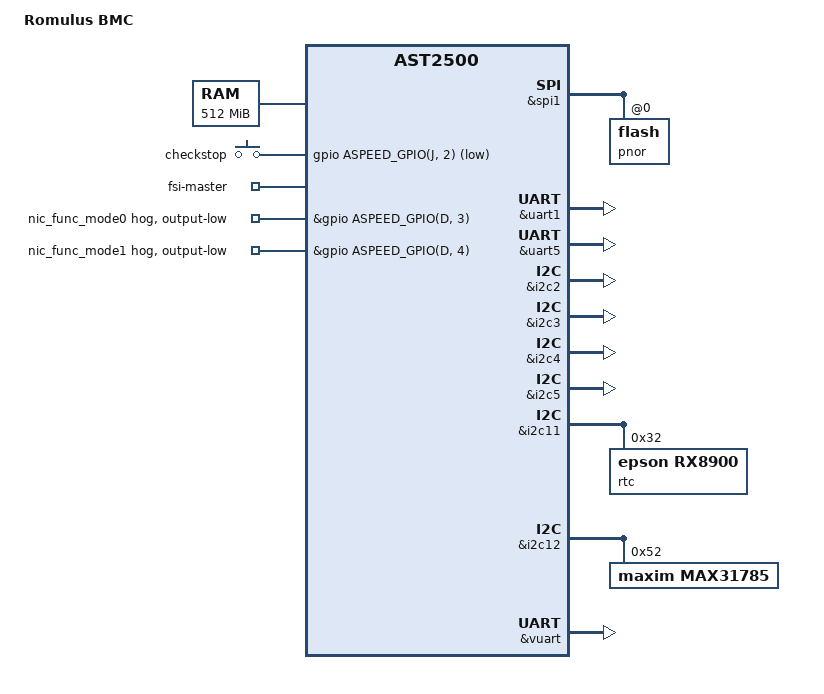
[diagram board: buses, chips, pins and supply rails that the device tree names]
/dts-v1/;

#include "aspeed-g5.dtsi"
#include <dt-bindings/gpio/aspeed-gpio.h>

/ {
	model = "Romulus BMC";
	compatible = "ibm,romulus-bmc", "aspeed,ast2500";

	aliases {
		serial4 = &uart5;
	};

	chosen {
		stdout-path = &uart5;
		bootargs = "console=ttyS4,115200 earlyprintk";
	};

	memory {
		reg = <0x80000000 0x20000000>;
	};

	reserved-memory {
		#address-cells = <1>;
		#size-cells = <1>;
		ranges;

		flash_memory: region@98000000 {
			no-map;
			reg = <0x98000000 0x04000000>; /* 64M */
		};
	};

	gpio-keys {
		compatible = "gpio-keys";

		checkstop {
			label = "checkstop";
			gpios = <&gpio ASPEED_GPIO(J, 2) GPIO_ACTIVE_LOW>;
			linux,code = <ASPEED_GPIO(J, 2)>;
		};

	fsi-master {
		compatible = "ibm,fsi-master", "ibm,fsi-master-gpio";

		status = "okay";

		clock-gpios = <&gpio ASPEED_GPIO(AA, 0) GPIO_ACTIVE_HIGH>;
		data-gpios = <&gpio ASPEED_GPIO(AA, 2) GPIO_ACTIVE_HIGH>;
		mux-gpios = <&gpio ASPEED_GPIO(A, 6) GPIO_ACTIVE_HIGH>;
		enable-gpios = <&gpio ASPEED_GPIO(D, 0) GPIO_ACTIVE_HIGH>;
		trans-gpios = <&gpio ASPEED_GPIO(R, 2) GPIO_ACTIVE_HIGH>;
	};
};

&fmc {
	status = "okay";
	flash@0 {
		status = "okay";
#include "aspeed-bmc-opp-flash-layout.dtsi"
	};
};

&spi1 {
	status = "okay";
	pinctrl-names = "default";
	pinctrl-0 = <&pinctrl_spi1_default>;

	flash@0 {
		status = "okay";
		label = "pnor";
	};
};

&lpc_ctrl {
	status = "okay";
	memory-region = <&flash_memory>;
	flash = <&spi1>;
};

&mbox {
	status = "okay";
};

&uart1 {
	/* Rear RS-232 connector */
	status = "okay";

	pinctrl-names = "default";
	pinctrl-0 = <&pinctrl_txd1_default
			&pinctrl_rxd1_default
			&pinctrl_nrts1_default
			&pinctrl_ndtr1_default
			&pinctrl_ndsr1_default
			&pinctrl_ncts1_default
			&pinctrl_ndcd1_default
			&pinctrl_nri1_default>;
};

&uart5 {
	status = "okay";
};

&mac0 {
	status = "okay";

	use-ncsi;

	pinctrl-names = "default";
	pinctrl-0 = <&pinctrl_rmii1_default>;
};

&i2c0 {
	status = "disabled";
};

&i2c1 {
	status = "enabled";

	/* CPU1 */
};

&i2c2 {
	/* FSI Mux */

	status = "okay";
};

&i2c3 {
	status = "okay";

	/* Clock chip */
};

&i2c4 {
	status = "okay";

	/* Voltage regulators:
	 *  CPU0 VDD/VCS
	 *  CPU0 VDN/VIO
	 *  CPU0 VDDR A
	 *  CPU0 VDDR B
	 */
};

&i2c5 {
	status = "okay";

	/* Voltage regulators:
	 *  CPU1 VDD/VCS
	 *  CPU1 VDN/VIO
	 *  CPU1 VDDR A
	 *  CPU1 VDDR B
	 */
};

&i2c6 {
	/* PCIe slot 1 (x8) */
	status = "enabled";
};

&i2c7 {
	/* PCIe slot 2 (x16) */
	status = "enabled";
};

&i2c8 {
	/* PCIe slot 3 (x16) */
	status = "enabled";
};

&i2c9 {
	/* PCIe slot 4 (x16) */
	status = "enabled";
};

&i2c10 {
	/* PCIe slot 5 (x8) */
	status = "enabled";
};

&i2c11 {
	status = "okay";

	rtc@32 {
		compatible = "epson,rx8900";
		reg = <0x32>;
	};

	/* TPM */
};

&i2c12 {
	status = "okay";
	
	/* Fan Controller 0xa4/a5 */
	max31785@52 {
		compatible = "maxim,max31785";
		reg = <0x52>;
	};

	/* CPLD */
	/* Power Supply */
	/* Temp Sensor */
	/* Temp Sensor */

};

&i2c13 {
	status = "disabled";
};

&gpio {
    nic_func_mode0 {
		gpio-hog;
		gpios = <ASPEED_GPIO(D, 3) GPIO_ACTIVE_HIGH>;
		output-low;
		line-name = "nic_func_mode0";
    };
    nic_func_mode1 {
		gpio-hog;
		gpios = <ASPEED_GPIO(D, 4) GPIO_ACTIVE_HIGH>;
		output-low;
		line-name = "nic_func_mode1";
    };
};

&vuart {
	status = "okay";
};

&gfx {
	status = "okay";
};

&pinctrl {
	aspeed,external-nodes = <&gfx &lhc>;
};
